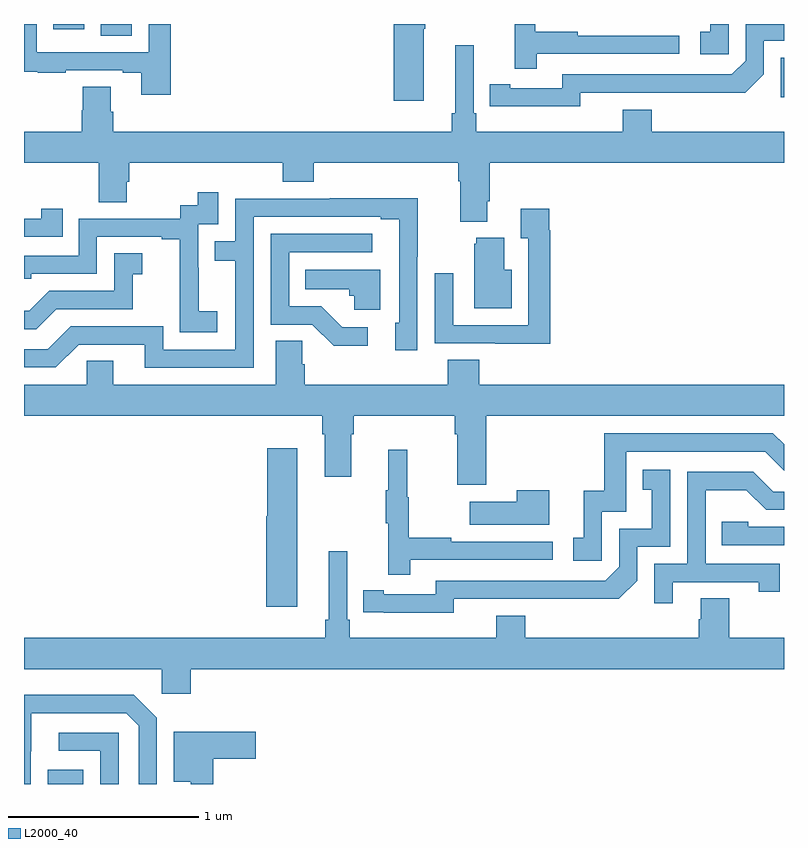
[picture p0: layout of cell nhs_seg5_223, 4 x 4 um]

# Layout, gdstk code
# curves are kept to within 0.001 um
import gdstk
lib = gdstk.Library(unit=1e-6, precision=1e-09)
def R(c, l, rs):  # rectangles x0, y0, x1, y1
    for r in rs: c.add(gdstk.rectangle(r[:2], r[2:], *l))
def P(c, l, *ps):  # polygons
    for p in ps: c.add(gdstk.Polygon(p, *l))
L2000_40 = (2000, 40)

nhs_seg5_223 = lib.new_cell('nhs_seg5_223')
R(nhs_seg5_223, L2000_40, [(123.125,878.799,123.313,878.875), (126.984,882.414,127,882.621), (123.404,882.736,123.568,882.799), (123.155,882.771,123.316,882.799)])
P(nhs_seg5_223, L2000_40, [(125.104,882.775),(125.112,882.775),(125.112,882.799),(124.946,882.799),(124.946,882.396),(125.104,882.396)],
  [(126.708,882.799),(126.611,882.799),(126.611,882.759),(126.558,882.759),(126.558,882.639),(126.708,882.639)],
  [(125.928,882.438),(126.796,882.437),(126.894,882.534),(126.894,882.711),(127,882.711),(127,882.799),(126.798,882.799),(126.798,882.606),(126.726,882.534),(125.832,882.534),(125.832,882.462),(125.56,882.462),(125.56,882.482),(125.452,882.482),(125.452,882.366),(125.928,882.365)],
  [(125.699,882.642),(126.448,882.642),(126.448,882.738),(125.915,882.738),(125.915,882.758),(125.692,882.758),(125.692,882.799),(125.582,882.799),(125.582,882.564),(125.699,882.564)],
  [(123.773,882.799),(123.657,882.799),(123.657,882.651),(123.066,882.651),(123.066,882.799),(123,882.799),(123,882.549),(123.073,882.549),(123.073,882.543),(123.221,882.543),(123.221,882.555),(123.521,882.555),(123.521,882.543),(123.617,882.543),(123.617,882.426),(123.773,882.426)],
  [(125.437,881.866),(125.45,881.866),(125.45,882.068),(127,882.068),(127,882.232),(126.305,882.232),(126.305,882.349),(126.152,882.349),(126.152,882.232),(125.381,882.232),(125.381,882.328),(125.367,882.328),(125.367,882.688),(125.27,882.688),(125.27,882.328),(125.251,882.328),(125.251,882.232),(123.47,882.232),(123.47,882.338),(123.457,882.338),(123.457,882.47),(123.31,882.47),(123.31,882.345),(123.305,882.345),(123.305,882.232),(123,882.232),(123,882.068),(123.394,882.068),(123.394,881.86),(123.541,881.86),(123.541,881.97),(123.554,881.97),(123.554,882.068),(124.361,882.068),(124.361,881.969),(124.526,881.969),(124.526,882.068),(125.285,882.068),(125.285,881.972),(125.297,881.972),(125.297,881.759),(125.437,881.759)],
  [(124.018,881.287),(123.92,881.287),(123.92,881.516),(123.918,881.516),(123.918,881.745),(124.023,881.745),(124.023,881.914),(123.915,881.914),(123.915,881.844),(123.822,881.844),(123.822,881.775),(123.288,881.775),(123.288,881.58),(123,881.58),(123,881.457),(123.039,881.457),(123.039,881.484),(123.384,881.484),(123.384,881.679),(123.725,881.679),(123.725,881.667),(123.821,881.667),(123.821,881.383),(123.82,881.383),(123.82,881.177),(124.018,881.177)],
  [(124.209,881.784),(124.877,881.784),(124.877,881.772),(124.974,881.772),(124.974,881.226),(124.955,881.226),(124.955,881.082),(125.07,881.082),(125.07,881.575),(125.073,881.575),(125.073,881.882),(124.609,881.882),(124.609,881.88),(124.113,881.88),(124.113,881.655),(124.003,881.655),(124.003,881.554),(124.113,881.554),(124.113,881.085),(123.732,881.085),(123.732,881.208),(123.246,881.208),(123.126,881.088),(123,881.088),(123,880.992),(123.168,880.992),(123.288,881.112),(123.635,881.112),(123.635,880.989),(124.209,880.989)],
  [(125.771,881.714),(125.764,881.714),(125.764,881.827),(125.615,881.827),(125.615,881.671),(125.655,881.671),(125.655,881.214),(125.259,881.214),(125.259,881.488),(125.163,881.488),(125.163,881.118),(125.479,881.118),(125.479,881.117),(125.771,881.117)],
  [(123.203,881.827),(123.092,881.827),(123.092,881.775),(123,881.775),(123,881.679),(123.203,881.679)],
  [(124.81,881.202),(124.675,881.202),(124.564,881.313),(124.395,881.313),(124.395,881.598),(124.834,881.598),(124.834,881.694),(124.299,881.694),(124.299,881.217),(124.518,881.217),(124.631,881.105),(124.81,881.105)],
  [(125.566,881.506),(125.527,881.506),(125.527,881.674),(125.381,881.674),(125.381,881.643),(125.369,881.643),(125.369,881.303),(125.566,881.303)],
  [(123.169,881.298),(123.573,881.298),(123.573,881.483),(123.622,881.483),(123.622,881.593),(123.474,881.593),(123.474,881.394),(123.132,881.394),(123.028,881.29),(123,881.29),(123,881.193),(123.064,881.193)],
  [(124.876,881.506),(124.48,881.506),(124.48,881.402),(124.711,881.402),(124.711,881.37),(124.737,881.37),(124.737,881.294),(124.876,881.294)],
  [(125.432,880.736),(127,880.736),(127,880.9),(125.396,880.9),(125.396,881.033),(125.231,881.033),(125.231,880.9),(124.478,880.9),(124.478,881.009),(124.464,881.009),(124.464,881.132),(124.325,881.132),(124.325,880.9),(123.469,880.9),(123.469,881.027),(123.33,881.027),(123.33,880.9),(123,880.9),(123,880.736),(124.571,880.736),(124.571,880.64),(124.583,880.64),(124.583,880.416),(124.723,880.416),(124.723,880.64),(124.736,880.64),(124.736,880.736),(125.267,880.736),(125.267,880.64),(125.279,880.64),(125.279,880.374),(125.432,880.374)],
  [(126.042,880.233),(126.171,880.233),(126.171,880.548),(126.9,880.548),(127,880.448),(127,880.586),(126.942,880.644),(126.055,880.644),(126.055,880.342),(125.945,880.342),(125.945,880.095),(125.892,880.095),(125.892,879.975),(126.042,879.975)],
  [(124.438,880.567),(124.28,880.567),(124.28,880.209),(124.274,880.209),(124.274,879.732),(124.438,879.732)],
  [(125.033,879.978),(125.782,879.978),(125.782,880.074),(125.249,880.074),(125.249,880.094),(125.026,880.094),(125.026,880.308),(125.018,880.308),(125.018,880.558),(124.916,880.558),(124.916,880.345),(124.905,880.345),(124.905,880.171),(124.916,880.171),(124.916,879.9),(125.033,879.9)],
  [(125.262,879.774),(126.13,879.773),(126.228,879.87),(126.228,880.047),(126.402,880.047),(126.402,880.453),(126.256,880.453),(126.256,880.347),(126.305,880.347),(126.305,880.143),(126.132,880.143),(126.132,879.942),(126.06,879.87),(125.166,879.87),(125.166,879.798),(124.894,879.798),(124.894,879.818),(124.786,879.818),(124.786,879.702),(125.262,879.701)],
  [(126.415,879.861),(126.866,879.861),(126.866,879.81),(126.977,879.81),(126.977,879.957),(126.588,879.957),(126.588,880.346),(126.802,880.346),(126.906,880.242),(127,880.242),(127,880.338),(126.943,880.338),(126.838,880.443),(126.492,880.443),(126.492,879.957),(126.318,879.957),(126.318,879.75),(126.415,879.75)],
  [(125.764,880.345),(125.594,880.345),(125.594,880.285),(125.345,880.285),(125.345,880.163),(125.764,880.163)],
  [(127,880.152),(126.813,880.152),(126.813,880.179),(126.673,880.179),(126.673,880.056),(127,880.056)],
  [(123.878,879.404),(127,879.404),(127,879.568),(126.711,879.568),(126.711,879.776),(126.563,879.776),(126.563,879.666),(126.551,879.666),(126.551,879.568),(125.639,879.568),(125.639,879.685),(125.486,879.685),(125.486,879.568),(124.715,879.568),(124.715,879.664),(124.701,879.664),(124.701,880.024),(124.604,880.024),(124.604,879.664),(124.585,879.664),(124.585,879.568),(123,879.568),(123,879.404),(123.726,879.404),(123.726,879.273),(123.878,879.273)],
  [(123.036,878.971),(123.037,878.971),(123.037,879.171),(123.537,879.171),(123.603,879.105),(123.603,878.799),(123.699,878.799),(123.699,879.147),(123.578,879.268),(123,879.268),(123,878.799),(123.036,878.799)],
  [(123.995,878.933),(124.219,878.933),(124.219,879.075),(123.788,879.075),(123.788,878.81),(123.878,878.81),(123.878,878.799),(123.995,878.799)],
  [(123.498,879.069),(123.183,879.069),(123.183,878.973),(123.402,878.973),(123.402,878.799),(123.498,878.799)])

lib.write_gds('nhs_seg5_223.gds')
